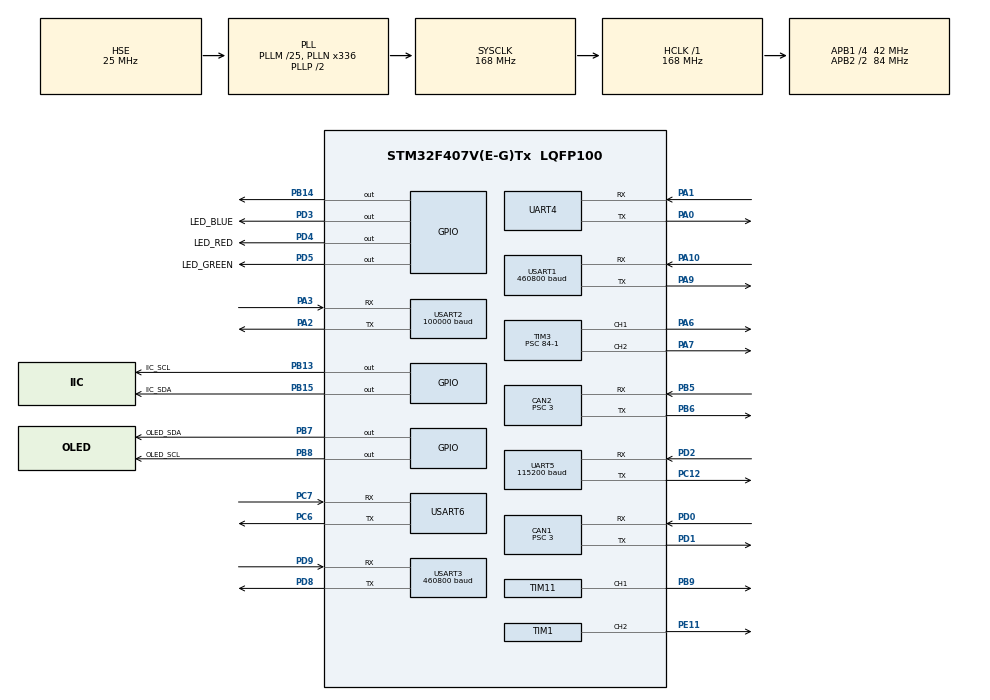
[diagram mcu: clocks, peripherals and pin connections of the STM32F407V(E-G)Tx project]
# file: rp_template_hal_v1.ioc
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CAN1.ABOM=ENABLE
CAN1.BS1=CAN_BS1_9TQ
CAN1.BS2=CAN_BS2_4TQ
CAN1.CalculateTimeQuantum=71.42857142857143
CAN1.Prescaler=3
CAN1.RFLM=ENABLE
CAN1.TXFP=ENABLE
CAN2.ABOM=ENABLE
CAN2.BS1=CAN_BS1_9TQ
CAN2.BS2=CAN_BS2_4TQ
CAN2.CalculateTimeQuantum=71.42857142857143
CAN2.Prescaler=3
CAN2.RFLM=ENABLE
CAN2.TXFP=ENABLE
Dma.Request0=UART5_RX
Dma.Request1=USART1_RX
Dma.Request2=UART4_RX
Dma.Request3=UART5_TX
Dma.Request4=USART3_TX
Dma.Request5=USART3_RX
Dma.Request6=USART2_RX
Dma.Request7=USART6_RX
Dma.Request8=USART6_TX
Dma.Request9=USART1_TX
Dma.UART4_RX.2.Direction=DMA_PERIPH_TO_MEMORY
Dma.UART4_RX.2.FIFOMode=DMA_FIFOMODE_DISABLE
Dma.UART4_RX.2.Instance=DMA1_Stream2
Dma.UART4_RX.2.MemDataAlignment=DMA_MDATAALIGN_BYTE
Dma.UART4_RX.2.MemInc=DMA_MINC_ENABLE
Dma.UART4_RX.2.Mode=DMA_CIRCULAR
Dma.UART4_RX.2.PeriphDataAlignment=DMA_PDATAALIGN_BYTE
Dma.UART4_RX.2.PeriphInc=DMA_PINC_DISABLE
Dma.UART4_RX.2.Priority=DMA_PRIORITY_LOW
Dma.UART5_RX.0.Direction=DMA_PERIPH_TO_MEMORY
Dma.UART5_RX.0.FIFOMode=DMA_FIFOMODE_DISABLE
Dma.UART5_RX.0.Instance=DMA1_Stream0
Dma.UART5_RX.0.MemDataAlignment=DMA_MDATAALIGN_BYTE
Dma.UART5_RX.0.MemInc=DMA_MINC_ENABLE
Dma.UART5_RX.0.Mode=DMA_CIRCULAR
Dma.UART5_RX.0.PeriphDataAlignment=DMA_PDATAALIGN_BYTE
Dma.UART5_RX.0.PeriphInc=DMA_PINC_DISABLE
Dma.UART5_RX.0.Priority=DMA_PRIORITY_VERY_HIGH
Dma.UART5_TX.3.Direction=DMA_MEMORY_TO_PERIPH
Dma.UART5_TX.3.FIFOMode=DMA_FIFOMODE_DISABLE
Dma.UART5_TX.3.Instance=DMA1_Stream7
Dma.UART5_TX.3.MemDataAlignment=DMA_MDATAALIGN_BYTE
Dma.UART5_TX.3.MemInc=DMA_MINC_ENABLE
Dma.UART5_TX.3.Mode=DMA_CIRCULAR
Dma.UART5_TX.3.PeriphDataAlignment=DMA_PDATAALIGN_BYTE
Dma.UART5_TX.3.PeriphInc=DMA_PINC_DISABLE
Dma.UART5_TX.3.Priority=DMA_PRIORITY_VERY_HIGH
Dma.USART1_RX.1.Direction=DMA_PERIPH_TO_MEMORY
Dma.USART1_RX.1.FIFOMode=DMA_FIFOMODE_DISABLE
Dma.USART1_RX.1.Instance=DMA2_Stream2
Dma.USART1_RX.1.MemDataAlignment=DMA_MDATAALIGN_BYTE
Dma.USART1_RX.1.MemInc=DMA_MINC_ENABLE
Dma.USART1_RX.1.Mode=DMA_CIRCULAR
Dma.USART1_RX.1.PeriphDataAlignment=DMA_PDATAALIGN_BYTE
Dma.USART1_RX.1.PeriphInc=DMA_PINC_DISABLE
Dma.USART1_RX.1.Priority=DMA_PRIORITY_HIGH
Dma.USART1_TX.9.Direction=DMA_MEMORY_TO_PERIPH
Dma.USART1_TX.9.FIFOMode=DMA_FIFOMODE_DISABLE
Dma.USART1_TX.9.Instance=DMA2_Stream7
Dma.USART1_TX.9.MemDataAlignment=DMA_MDATAALIGN_BYTE
Dma.USART1_TX.9.MemInc=DMA_MINC_ENABLE
Dma.USART1_TX.9.Mode=DMA_CIRCULAR
Dma.USART1_TX.9.PeriphDataAlignment=DMA_PDATAALIGN_BYTE
Dma.USART1_TX.9.PeriphInc=DMA_PINC_DISABLE
Dma.USART1_TX.9.Priority=DMA_PRIORITY_HIGH
Dma.USART2_RX.6.Direction=DMA_PERIPH_TO_MEMORY
Dma.USART2_RX.6.FIFOMode=DMA_FIFOMODE_DISABLE
Dma.USART2_RX.6.Instance=DMA1_Stream5
Dma.USART2_RX.6.MemDataAlignment=DMA_MDATAALIGN_BYTE
Dma.USART2_RX.6.MemInc=DMA_MINC_ENABLE
Dma.USART2_RX.6.Mode=DMA_CIRCULAR
Dma.USART2_RX.6.PeriphDataAlignment=DMA_PDATAALIGN_BYTE
Dma.USART2_RX.6.PeriphInc=DMA_PINC_DISABLE
Dma.USART2_RX.6.Priority=DMA_PRIORITY_VERY_HIGH
Dma.USART3_RX.5.Direction=DMA_PERIPH_TO_MEMORY
Dma.USART3_RX.5.FIFOMode=DMA_FIFOMODE_DISABLE
Dma.USART3_RX.5.Instance=DMA1_Stream1
Dma.USART3_RX.5.MemDataAlignment=DMA_MDATAALIGN_BYTE
Dma.USART3_RX.5.MemInc=DMA_MINC_ENABLE
Dma.USART3_RX.5.Mode=DMA_CIRCULAR
Dma.USART3_RX.5.PeriphDataAlignment=DMA_PDATAALIGN_BYTE
Dma.USART3_RX.5.PeriphInc=DMA_PINC_DISABLE
Dma.USART3_RX.5.Priority=DMA_PRIORITY_HIGH
Dma.USART3_TX.4.Direction=DMA_MEMORY_TO_PERIPH
Dma.USART3_TX.4.FIFOMode=DMA_FIFOMODE_DISABLE
Dma.USART3_TX.4.Instance=DMA1_Stream3
Dma.USART3_TX.4.MemDataAlignment=DMA_MDATAALIGN_BYTE
Dma.USART3_TX.4.MemInc=DMA_MINC_ENABLE
Dma.USART3_TX.4.Mode=DMA_CIRCULAR
Dma.USART3_TX.4.PeriphDataAlignment=DMA_PDATAALIGN_BYTE
Dma.USART3_TX.4.PeriphInc=DMA_PINC_DISABLE
Dma.USART3_TX.4.Priority=DMA_PRIORITY_HIGH
Dma.USART6_RX.7.Direction=DMA_PERIPH_TO_MEMORY
Dma.USART6_RX.7.FIFOMode=DMA_FIFOMODE_DISABLE
Dma.USART6_RX.7.Instance=DMA2_Stream1
Dma.USART6_RX.7.MemDataAlignment=DMA_MDATAALIGN_BYTE
Dma.USART6_RX.7.MemInc=DMA_MINC_ENABLE
Dma.USART6_RX.7.Mode=DMA_CIRCULAR
Dma.USART6_RX.7.PeriphDataAlignment=DMA_PDATAALIGN_BYTE
Dma.USART6_RX.7.PeriphInc=DMA_PINC_DISABLE
Dma.USART6_RX.7.Priority=DMA_PRIORITY_VERY_HIGH
Dma.USART6_TX.8.Direction=DMA_MEMORY_TO_PERIPH
Dma.USART6_TX.8.FIFOMode=DMA_FIFOMODE_DISABLE
Dma.USART6_TX.8.Instance=DMA2_Stream6
Dma.USART6_TX.8.MemDataAlignment=DMA_MDATAALIGN_BYTE
Dma.USART6_TX.8.MemInc=DMA_MINC_ENABLE
Dma.USART6_TX.8.Mode=DMA_CIRCULAR
Dma.USART6_TX.8.PeriphDataAlignment=DMA_PDATAALIGN_BYTE
Dma.USART6_TX.8.PeriphInc=DMA_PINC_DISABLE
Dma.USART6_TX.8.Priority=DMA_PRIORITY_VERY_HIGH
FREERTOS.Tasks01=MonitorTask,-3,512,StartMonitorTask,As weak,NULL,Dynamic,NULL,NULL;Check_Task,-3,128,CheckTask,As external,NULL,Dynamic,NULL,NULL;BMI_Task,-3,128,BmiUpdateTask,As external,NULL,Dynamic,NULL,NULL;M2H_Task,-3,512,M2HTask,As external,NULL,Dynamic,NULL,NULL;Chassis_Task,-3,512,ChassisTask,As external,NULL,Dynamic,NULL,NULL;Gimbal_Task,-3,256,GimbalTask,As external,NULL,Dynamic,NULL,NULL;Vision_Task,-3,512,VisionTask,As external,NULL,Dynamic,NULL,NULL;Shoot_Task,-3,256,ShootTask,As external,NULL,Dynamic,NULL,NULL;Oled_Task,-3,128,OledTask,As external,NULL,Dynamic,NULL,NULL
Mcu.Family=STM32F4
Mcu.Name=STM32F407V(E-G)Tx
Mcu.Package=LQFP100
NVIC.CAN1_RX0_IRQn=true\:0\:0\:false\:false\:true\:true\:true\:true\:true
NVIC.CAN2_RX0_IRQn=true\:0\:0\:false\:false\:true\:true\:true\:true\:true
NVIC.DMA1_Stream0_IRQn=true\:0\:0\:false\:false\:true\:true\:false\:true\:true
NVIC.DMA1_Stream1_IRQn=true\:0\:0\:false\:false\:true\:true\:false\:true\:true
NVIC.DMA1_Stream2_IRQn=true\:0\:0\:false\:false\:true\:true\:false\:true\:true
NVIC.DMA1_Stream3_IRQn=true\:0\:0\:false\:false\:true\:true\:false\:true\:true
NVIC.DMA1_Stream5_IRQn=true\:0\:0\:false\:false\:true\:true\:false\:true\:true
NVIC.DMA1_Stream7_IRQn=true\:0\:0\:false\:false\:true\:true\:false\:true\:true
NVIC.DMA2_Stream1_IRQn=true\:0\:0\:false\:false\:true\:true\:false\:true\:true
NVIC.DMA2_Stream2_IRQn=true\:0\:0\:false\:false\:true\:true\:false\:true\:true
NVIC.DMA2_Stream6_IRQn=true\:0\:0\:false\:false\:true\:true\:false\:true\:true
NVIC.DMA2_Stream7_IRQn=true\:0\:0\:false\:false\:true\:true\:false\:true\:true
NVIC.PriorityGroup=NVIC_PRIORITYGROUP_4
NVIC.TIM2_IRQn=true\:0\:0\:false\:false\:true\:false\:false\:true\:true
NVIC.TimeBase=TIM2_IRQn
NVIC.TimeBaseIP=TIM2
NVIC.UART4_IRQn=true\:0\:0\:false\:false\:true\:true\:true\:true\:true
NVIC.UART5_IRQn=true\:0\:0\:false\:false\:true\:true\:true\:true\:true
NVIC.USART1_IRQn=true\:0\:0\:false\:false\:true\:true\:true\:true\:true
NVIC.USART2_IRQn=true\:0\:0\:false\:false\:true\:false\:true\:true\:true
NVIC.USART3_IRQn=true\:0\:0\:false\:false\:true\:false\:true\:true\:true
NVIC.USART6_IRQn=true\:0\:0\:false\:false\:true\:false\:true\:true\:true
PA0-WKUP.Mode=Asynchronous
PA0-WKUP.Signal=UART4_TX
PA1.Mode=Asynchronous
PA1.Signal=UART4_RX
PA10.Mode=Asynchronous
PA10.Signal=USART1_RX
PA2.Mode=Asynchronous
PA2.Signal=USART2_TX
PA3.Mode=Asynchronous
PA3.Signal=USART2_RX
PA6.Signal=S_TIM3_CH1
PA7.Signal=S_TIM3_CH2
PA9.Mode=Asynchronous
PA9.Signal=USART1_TX
PB13.GPIO_Label=IIC_SCL
PB13.GPIO_Speed=GPIO_SPEED_FREQ_VERY_HIGH
PB13.PinState=GPIO_PIN_SET
PB13.Signal=GPIO_Output
PB14.GPIO_PuPd=GPIO_PULLUP
PB14.PinState=GPIO_PIN_SET
PB14.Signal=GPIO_Output
PB15.GPIO_Label=IIC_SDA
PB15.GPIO_Speed=GPIO_SPEED_FREQ_VERY_HIGH
PB15.PinState=GPIO_PIN_SET
PB15.Signal=GPIO_Output
PB5.Mode=Slave
PB5.Signal=CAN2_RX
PB6.Mode=Slave
PB6.Signal=CAN2_TX
PB7.GPIO_Label=OLED_SDA
PB7.GPIO_ModeDefaultOutputPP=GPIO_MODE_OUTPUT_OD
PB7.GPIO_PuPd=GPIO_NOPULL
PB7.GPIO_Speed=GPIO_SPEED_FREQ_LOW
PB7.Signal=GPIO_Output
PB8.GPIO_Label=OLED_SCL
PB8.GPIO_ModeDefaultOutputPP=GPIO_MODE_OUTPUT_PP
PB8.GPIO_PuPd=GPIO_NOPULL
PB8.GPIO_Speed=GPIO_SPEED_FREQ_LOW
PB8.Signal=GPIO_Output
PB9.Signal=S_TIM11_CH1
PC12.Mode=Asynchronous
PC12.Signal=UART5_TX
PC6.Mode=Asynchronous
PC6.Signal=USART6_TX
PC7.Mode=Asynchronous
PC7.Signal=USART6_RX
PD0.Mode=Master
PD0.Signal=CAN1_RX
PD1.Mode=Master
PD1.Signal=CAN1_TX
PD2.Mode=Asynchronous
PD2.Signal=UART5_RX
PD3.GPIO_Label=LED_BLUE
PD3.Signal=GPIO_Output
PD4.GPIO_Label=LED_RED
PD4.Signal=GPIO_Output
PD5.GPIO_Label=LED_GREEN
PD5.PinState=GPIO_PIN_RESET
PD5.Signal=GPIO_Output
PD8.Mode=Asynchronous
PD8.Signal=USART3_TX
PD9.Mode=Asynchronous
PD9.Signal=USART3_RX
PE11.Signal=S_TIM1_CH2
PH0-OSC_IN.Mode=HSE-External-Oscillator
PH0-OSC_IN.Signal=RCC_OSC_IN
PH1-OSC_OUT.Mode=HSE-External-Oscillator
PH1-OSC_OUT.Signal=RCC_OSC_OUT
ProjectManager.HeapSize=0x200
ProjectManager.StackSize=0x400
ProjectManager.TargetToolchain=MDK-ARM V5
RCC.48MHZClocksFreq_Value=84000000
RCC.AHBFreq_Value=168000000
RCC.APB1CLKDivider=RCC_HCLK_DIV4
RCC.APB1Freq_Value=42000000
RCC.APB1TimFreq_Value=84000000
RCC.APB2CLKDivider=RCC_HCLK_DIV2
RCC.APB2Freq_Value=84000000
RCC.APB2TimFreq_Value=168000000
RCC.CortexFreq_Value=168000000
RCC.HCLKFreq_Value=168000000
RCC.HSE_VALUE=25000000
RCC.HSI_VALUE=16000000
RCC.LSE_VALUE=32768
RCC.PLLM=25
RCC.PLLN=336
RCC.PLLSourceVirtual=RCC_PLLSOURCE_HSE
RCC.SYSCLKFreq_VALUE=168000000
RCC.SYSCLKSource=RCC_SYSCLKSOURCE_PLLCLK
RCC.VCOOutputFreq_Value=336000000
SH.S_TIM11_CH1.0=TIM11_CH1,PWM Generation1 CH1
SH.S_TIM1_CH2.0=TIM1_CH2,PWM Generation2 CH2
SH.S_TIM3_CH1.0=TIM3_CH1,PWM Generation1 CH1
SH.S_TIM3_CH2.0=TIM3_CH2,PWM Generation2 CH2
TIM1.Channel-PWM\ Generation2\ CH2=TIM_CHANNEL_2
TIM1.Period=1000-1
TIM1.Prescaler=3360-1
TIM11.Channel=TIM_CHANNEL_1
TIM11.Period=500
TIM11.Prescaler=168-1
TIM3.Channel-PWM\ Generation1\ CH1=TIM_CHANNEL_1
TIM3.Channel-PWM\ Generation2\ CH2=TIM_CHANNEL_2
TIM3.Period=2500-1
TIM3.Prescaler=84-1
UART4.VirtualMode=Asynchronous
UART5.BaudRate=115200
UART5.VirtualMode=Asynchronous
USART1.BaudRate=460800
USART1.VirtualMode=VM_ASYNC
USART2.BaudRate=100000
USART2.VirtualMode=VM_ASYNC
USART3.BaudRate=460800
USART3.VirtualMode=VM_ASYNC
USART6.VirtualMode=VM_ASYNC
VP_FREERTOS_VS_CMSIS_V1.Mode=CMSIS_V1
VP_IWDG_VS_IWDG.Mode=IWDG_Activate
VP_SYS_VS_tim2.Mode=TIM2
VP_TIM11_VS_ClockSourceINT.Mode=Enable_Timer
VP_TIM1_VS_ClockSourceINT.Mode=Internal
VP_TIM3_VS_ClockSourceINT.Mode=Internal
board=custom

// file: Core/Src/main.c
/* USER CODE BEGIN Header */
/**
  ******************************************************************************
  * @file           : main.c
  * @brief          : Main program body
  ******************************************************************************
  * @attention
  *
  * <h2><center>&copy; Copyright (c) 2023 STMicroelectronics.
  * All rights reserved.</center></h2>
  *
  * This software component is licensed by ST under Ultimate Liberty license
  * SLA0044, the "License"; You may not use this file except in compliance with
  * the License. You may obtain a copy of the License at:
  *                             www.st.com/SLA0044
  *
  ******************************************************************************
  */
/* USER CODE END Header */
#include "main.h"
#include "cmsis_os.h"
#include "can.h"
#include "dma.h"
#include "iwdg.h"
#include "tim.h"
#include "usart.h"
#include "gpio.h"

/* USER CODE BEGIN Includes */
#include "driver.h"
#include "bmi.h"
#include "remote.h"
#include "9015_motor.h"
#include "3508_motor.h"
#include "dji_pid.h"
#include "rp_chassis.h"
#include "rp_gimbal.h"
#include "can_protocol.h"
#include "Car.h"
#include "rp_shoot.h"
#include "vision.h"
#include "judge.h"
#include "judge.h"
#include "drv_can.h"
#include "oled.h"
#include "navigation.h"
#include "string.h"
#include "stdio.h"
/* USER CODE END Includes */

/* USER CODE BEGIN PV */
#define DEBUG 1

/*陀螺仪数据*/
bmi_t bmi_structure;
short gyrox, gyroy, gyroz;
short accx, accy, accz;

extern Master_Head_t   Master_Head_structure;

/*遥控器数据*/
rc_t                   rc_structure;
rc_info_t              rc_info_structure;
rc_base_info_t         rc_base_info_structure;

/*9015电机*/
motor_9015_t           motor_9015_structure;
motor_9015_info_t      motor_9015_info_structure;
motor_9015_base_info_t motor_9015_base_info_structure;
motor_9015_pid_t       motor_9015_pid_structure;

/*底盘电机*/
motor_3508_t           motor_3508_LF_structure;
motor_3508_base_info_t motor_3508_LF_base_info;
motor_3508_info_t      motor_3508_LF_info;

motor_3508_t           motor_3508_RF_structure;
motor_3508_base_info_t motor_3508_RF_base_info;
motor_3508_info_t      motor_3508_RF_info;

motor_3508_t           motor_3508_LB_structure;
motor_3508_base_info_t motor_3508_LB_base_info;
motor_3508_info_t      motor_3508_LB_info;

motor_3508_t           motor_3508_RB_structure;
motor_3508_base_info_t motor_3508_RB_base_info;
motor_3508_info_t      motor_3508_RB_info;

/*底盘电机PID*/
pid_t                  chassis_pid_speed_structure[4];

/*底盘跟随PID*/
pid_t                  chassis_pid_follow_structure;

/*底盘*/
extern chassis_t       Chassis;

/*云台*/
gimbal_t               Gimbal;

/*整车状态*/
car_t                  car_structure;

uint8_t X,Y;

/* USER CODE END PV */

void SystemClock_Config(void);
void MX_FREERTOS_Init(void);

int main(void)
{

  /* MCU Configuration--------------------------------------------------------*/

  /* Reset of all peripherals, Initializes the Flash interface and the Systick. */
  HAL_Init();

  /* Configure the system clock */
  SystemClock_Config();

  /* Initialize all configured peripherals */
  MX_GPIO_Init();
  MX_DMA_Init();
  MX_TIM3_Init();
  MX_USART2_UART_Init();
  MX_CAN1_Init();
  MX_CAN2_Init();
  MX_TIM1_Init();
  MX_UART4_Init();
  MX_UART5_Init();
  MX_USART1_UART_Init();
  MX_USART3_UART_Init();
  //MX_IWDG_Init();
  MX_TIM11_Init();
  MX_USART6_UART_Init();
  /* USER CODE BEGIN 2 */

  /*I LOVE SZU*/
  DRIVER_Init();
  /*初始化*/

  Vision_Init();
  Navigation_Init();

  SHOOT_INIT();

  rc_init(&rc_structure ,&rc_info_structure, &rc_base_info_structure);

  Motor_9015_Init();

  Chassis_Init(&Chassis);

  Master_Head_INIT(&Master_Head_structure);

  Gimbal_Init(&Gimbal,&motor_9015_structure);

  HAL_GPIO_WritePin(GPIOB,GPIO_PIN_14, GPIO_PIN_RESET);
  My_BMI_Init();

  OLED_Init();

  /*看门狗最后启动*/
  #if DEBUG
  MX_IWDG_Init();
  #endif

  BUZZ_Freq(0);
  /* USER CODE END 2 */

  /* Call init function for freertos objects (in freertos.c) */
  MX_FREERTOS_Init();
  /* Start scheduler */
  osKernelStart();

  /* We should never get here as control is now taken by the scheduler */
  /* Infinite loop */
  while (1)
  {

  }
}

void SystemClock_Config(void)
{
  RCC_OscInitTypeDef RCC_OscInitStruct = {0};
  RCC_ClkInitTypeDef RCC_ClkInitStruct = {0};

  /** Configure the main internal regulator output voltage
  */
  __HAL_RCC_PWR_CLK_ENABLE();
  __HAL_PWR_VOLTAGESCALING_CONFIG(PWR_REGULATOR_VOLTAGE_SCALE1);
  /** Initializes the RCC Oscillators according to the specified parameters
  * in the RCC_OscInitTypeDef structure.
  */
  RCC_OscInitStruct.OscillatorType = RCC_OSCILLATORTYPE_LSI|RCC_OSCILLATORTYPE_HSE;
  RCC_OscInitStruct.HSEState = RCC_HSE_ON;
  RCC_OscInitStruct.LSIState = RCC_LSI_ON;
  RCC_OscInitStruct.PLL.PLLState = RCC_PLL_ON;
  RCC_OscInitStruct.PLL.PLLSource = RCC_PLLSOURCE_HSE;
  RCC_OscInitStruct.PLL.PLLM = 25;
  RCC_OscInitStruct.PLL.PLLN = 336;
  RCC_OscInitStruct.PLL.PLLP = RCC_PLLP_DIV2;
  RCC_OscInitStruct.PLL.PLLQ = 4;
  if (HAL_RCC_OscConfig(&RCC_OscInitStruct) != HAL_OK)
  {
    Error_Handler();
  }
  /** Initializes the CPU, AHB and APB buses clocks
  */
  RCC_ClkInitStruct.ClockType = RCC_CLOCKTYPE_HCLK|RCC_CLOCKTYPE_SYSCLK
                              |RCC_CLOCKTYPE_PCLK1|RCC_CLOCKTYPE_PCLK2;
  RCC_ClkInitStruct.SYSCLKSource = RCC_SYSCLKSOURCE_PLLCLK;
  RCC_ClkInitStruct.AHBCLKDivider = RCC_SYSCLK_DIV1;
  RCC_ClkInitStruct.APB1CLKDivider = RCC_HCLK_DIV4;
  RCC_ClkInitStruct.APB2CLKDivider = RCC_HCLK_DIV2;

  if (HAL_RCC_ClockConfig(&RCC_ClkInitStruct, FLASH_LATENCY_5) != HAL_OK)
  {
    Error_Handler();
  }
}

void HAL_TIM_PeriodElapsedCallback(TIM_HandleTypeDef *htim)
{
  if (htim->Instance == TIM2) {
    HAL_IncTick();
  }
}

void Error_Handler(void)
{
}

/************************ (C) COPYRIGHT STMicroelectronics *****END OF FILE****/

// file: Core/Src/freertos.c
/* USER CODE BEGIN Header */
/**
  ******************************************************************************
  * File Name          : freertos.c
  * Description        : Code for freertos applications
  ******************************************************************************
  * @attention
  *
  * <h2><center>&copy; Copyright (c) 2023 STMicroelectronics.
  * All rights reserved.</center></h2>
  *
  * This software component is licensed by ST under Ultimate Liberty license
  * SLA0044, the "License"; You may not use this file except in compliance with
  * the License. You may obtain a copy of the License at:
  *                             www.st.com/SLA0044
  *
  ******************************************************************************
  */
/* USER CODE END Header */

#include "FreeRTOS.h"
#include "task.h"
#include "main.h"
#include "cmsis_os.h"

osThreadId MonitorTaskHandle;
osThreadId Check_TaskHandle;
osThreadId BMI_TaskHandle;
osThreadId M2H_TaskHandle;
osThreadId Chassis_TaskHandle;
osThreadId Gimbal_TaskHandle;
osThreadId Vision_TaskHandle;
osThreadId Shoot_TaskHandle;
osThreadId Oled_TaskHandle;

void StartMonitorTask(void const * argument);
extern void CheckTask(void const * argument);
extern void BmiUpdateTask(void const * argument);
extern void M2HTask(void const * argument);
extern void ChassisTask(void const * argument);
extern void GimbalTask(void const * argument);
extern void VisionTask(void const * argument);
extern void ShootTask(void const * argument);
extern void OledTask(void const * argument);

void MX_FREERTOS_Init(void); /* (MISRA C 2004 rule 8.1) */

/* GetIdleTaskMemory prototype (linked to static allocation support) */
void vApplicationGetIdleTaskMemory( StaticTask_t **ppxIdleTaskTCBBuffer, StackType_t **ppxIdleTaskStackBuffer, uint32_t *pulIdleTaskStackSize );

/* USER CODE BEGIN GET_IDLE_TASK_MEMORY */
static StaticTask_t xIdleTaskTCBBuffer;
static StackType_t xIdleStack[configMINIMAL_STACK_SIZE];

void vApplicationGetIdleTaskMemory( StaticTask_t **ppxIdleTaskTCBBuffer, StackType_t **ppxIdleTaskStackBuffer, uint32_t *pulIdleTaskStackSize )
{
  *ppxIdleTaskTCBBuffer = &xIdleTaskTCBBuffer;
  *ppxIdleTaskStackBuffer = &xIdleStack[0];
  *pulIdleTaskStackSize = configMINIMAL_STACK_SIZE;
  /* place for user code */
}
/* USER CODE END GET_IDLE_TASK_MEMORY */

void MX_FREERTOS_Init(void) {

  /* Create the thread(s) */
  /* definition and creation of MonitorTask */
  osThreadDef(MonitorTask, StartMonitorTask, osPriorityIdle, 0, 512);
  MonitorTaskHandle = osThreadCreate(osThread(MonitorTask), NULL);

  /* definition and creation of Check_Task */
  osThreadDef(Check_Task, CheckTask, osPriorityIdle, 0, 128);
  Check_TaskHandle = osThreadCreate(osThread(Check_Task), NULL);

  /* definition and creation of BMI_Task */
  osThreadDef(BMI_Task, BmiUpdateTask, osPriorityIdle, 0, 128);
  BMI_TaskHandle = osThreadCreate(osThread(BMI_Task), NULL);

  /* definition and creation of M2H_Task */
  osThreadDef(M2H_Task, M2HTask, osPriorityIdle, 0, 512);
  M2H_TaskHandle = osThreadCreate(osThread(M2H_Task), NULL);

  /* definition and creation of Chassis_Task */
  osThreadDef(Chassis_Task, ChassisTask, osPriorityIdle, 0, 512);
  Chassis_TaskHandle = osThreadCreate(osThread(Chassis_Task), NULL);

  /* definition and creation of Gimbal_Task */
  osThreadDef(Gimbal_Task, GimbalTask, osPriorityIdle, 0, 256);
  Gimbal_TaskHandle = osThreadCreate(osThread(Gimbal_Task), NULL);

  /* definition and creation of Vision_Task */
  osThreadDef(Vision_Task, VisionTask, osPriorityIdle, 0, 512);
  Vision_TaskHandle = osThreadCreate(osThread(Vision_Task), NULL);

  /* definition and creation of Shoot_Task */
  osThreadDef(Shoot_Task, ShootTask, osPriorityIdle, 0, 256);
  Shoot_TaskHandle = osThreadCreate(osThread(Shoot_Task), NULL);

  /* definition and creation of Oled_Task */
  osThreadDef(Oled_Task, OledTask, osPriorityIdle, 0, 128);
  Oled_TaskHandle = osThreadCreate(osThread(Oled_Task), NULL);

}

__weak void StartMonitorTask(void const * argument)
{
  for(;;)
  {
    osDelay(1);
  }
}

/************************ (C) COPYRIGHT STMicroelectronics *****END OF FILE****/
